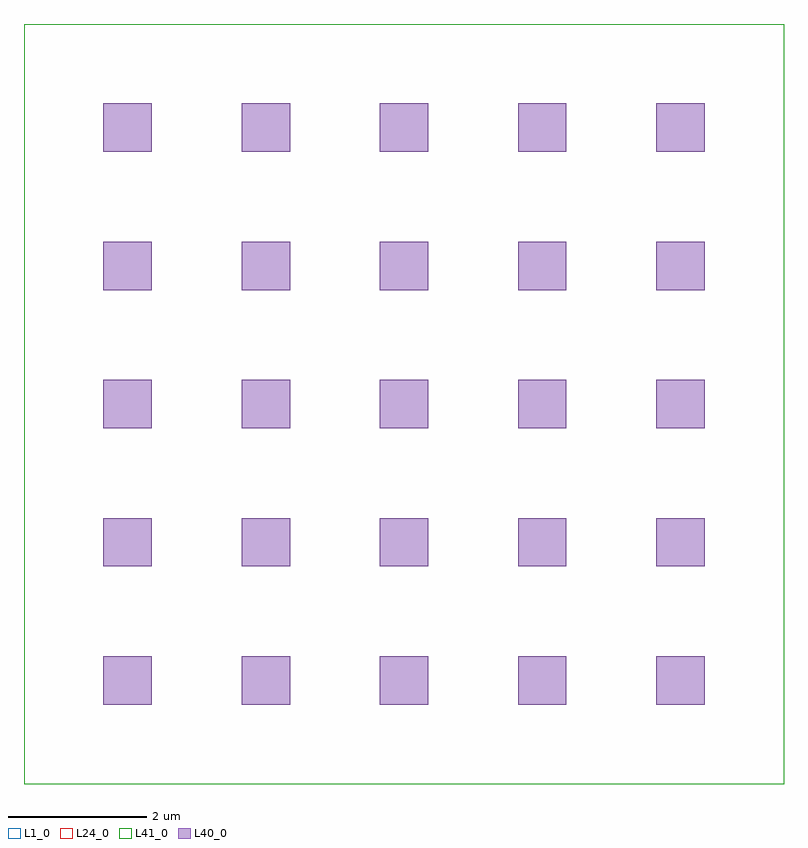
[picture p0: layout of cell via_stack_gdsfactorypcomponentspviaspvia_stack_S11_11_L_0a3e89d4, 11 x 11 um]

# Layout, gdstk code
import gdstk
lib = gdstk.Library(unit=1e-6, precision=1e-09)
def R(c, l, rs):  # rectangles x0, y0, x1, y1
    for r in rs: c.add(gdstk.rectangle(r[:2], r[2:], *l))
L1_0 = (1, 0)
L24_0 = (24, 0)
L40_0 = (40, 0)
L41_0 = (41, 0)

compass_gdsfactorypcompo = lib.new_cell('compass_gdsfactorypcomponentspshapespcompass_S11_11_LWG_449bc0ec')
R(compass_gdsfactorypcompo, L1_0, [(-5.5,-5.5,5.5,5.5)])

c_compass_gdsfactorypcompo = lib.new_cell('compass_gdsfactorypcomponentspshapespcompass_S11_11_LNP_b5d41ec0')
R(c_compass_gdsfactorypcompo, L24_0, [(-5.5,-5.5,5.5,5.5)])

c_compass_gdsfactorypcompo_ = lib.new_cell('compass_gdsfactorypcomponentspshapespcompass_S11_11_LM1_5f83f55d')
R(c_compass_gdsfactorypcompo_, L41_0, [(-5.5,-5.5,5.5,5.5)])

via_gdsfactorypcomponent = lib.new_cell('via_gdsfactorypcomponentspviaspvia_S0p7_0p7_E1_LVIAC_BL_572539c8')
R(via_gdsfactorypcomponent, L40_0, [(-0.35,-0.35,0.35,0.35)])

via_stack_gdsfactorypcom = lib.new_cell('via_stack_gdsfactorypcomponentspviaspvia_stack_S11_11_L_0a3e89d4')
via_stack_gdsfactorypcom.add(gdstk.Reference(compass_gdsfactorypcompo, (0,0)))
via_stack_gdsfactorypcom.add(gdstk.Reference(c_compass_gdsfactorypcompo, (0,0)))
via_stack_gdsfactorypcom.add(gdstk.Reference(c_compass_gdsfactorypcompo_, (0,0)))
r = gdstk.Reference(via_gdsfactorypcomponent, (-4,-4)); r.repetition = gdstk.Repetition(5, 5, v1=(2,0), v2=(0,2)); via_stack_gdsfactorypcom.add(r)

lib.write_gds('via_stack_gdsfactorypcomponentspviaspvia_stack_S11_11_L_0a3e89d4.gds')
